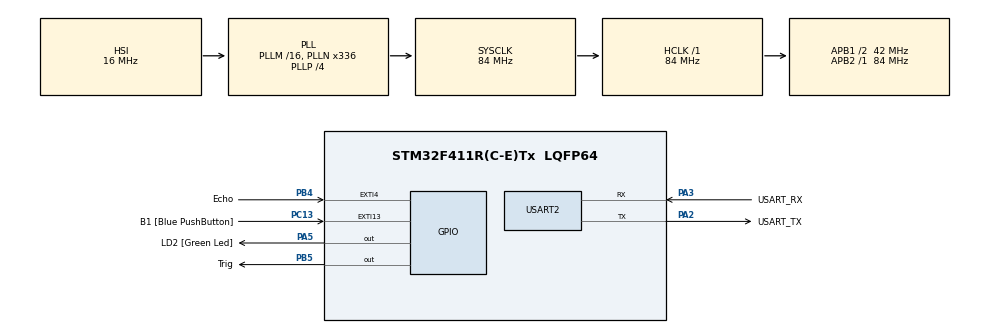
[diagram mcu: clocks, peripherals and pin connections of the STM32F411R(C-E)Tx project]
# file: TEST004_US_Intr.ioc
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Mcu.Family=STM32F4
Mcu.Name=STM32F411R(C-E)Tx
Mcu.Package=LQFP64
NVIC.EXTI4_IRQn=true\:0\:0\:false\:false\:true\:true\:true\:true
NVIC.PriorityGroup=NVIC_PRIORITYGROUP_0
NVIC.TIM3_IRQn=true\:0\:0\:false\:false\:true\:true\:true\:true
PA13.GPIO_Label=TMS
PA13.Mode=Serial_Wire
PA13.Signal=SYS_JTMS-SWDIO
PA14.GPIO_Label=TCK
PA14.Mode=Serial_Wire
PA14.Signal=SYS_JTCK-SWCLK
PA2.GPIO_Label=USART_TX
PA2.Mode=Asynchronous
PA2.Signal=USART2_TX
PA3.GPIO_Label=USART_RX
PA3.Mode=Asynchronous
PA3.Signal=USART2_RX
PA5.GPIO_Label=LD2 [Green Led]
PA5.Signal=GPIO_Output
PB3.GPIO_Label=SWO
PB3.Signal=SYS_JTDO-SWO
PB4.GPIO_Label=Echo
PB4.GPIO_ModeDefaultEXTI=GPIO_MODE_IT_RISING_FALLING
PB4.Signal=GPXTI4
PB5.GPIO_Label=Trig
PB5.Signal=GPIO_Output
PC13-ANTI_TAMP.GPIO_Label=B1 [Blue PushButton]
PC13-ANTI_TAMP.GPIO_ModeDefaultEXTI=GPIO_MODE_IT_FALLING
PC13-ANTI_TAMP.Signal=GPXTI13
PC14-OSC32_IN.Mode=LSE-External-Oscillator
PC14-OSC32_IN.Signal=RCC_OSC32_IN
PC15-OSC32_OUT.Mode=LSE-External-Oscillator
PC15-OSC32_OUT.Signal=RCC_OSC32_OUT
PH0\ -\ OSC_IN.Mode=HSE-External-Clock-Source
PH0\ -\ OSC_IN.Signal=RCC_OSC_IN
PH1\ -\ OSC_OUT.Mode=HSE-External-Clock-Source
PH1\ -\ OSC_OUT.Signal=RCC_OSC_OUT
ProjectManager.HeapSize=0x200
ProjectManager.StackSize=0x400
ProjectManager.TargetToolchain=STM32CubeIDE
RCC.48MHZClocksFreq_Value=84000000
RCC.AHBFreq_Value=84000000
RCC.APB1CLKDivider=RCC_HCLK_DIV2
RCC.APB1Freq_Value=42000000
RCC.APB1TimFreq_Value=84000000
RCC.APB2Freq_Value=84000000
RCC.APB2TimFreq_Value=84000000
RCC.CortexFreq_Value=84000000
RCC.FLatency-AdvancedSettings=FLASH_LATENCY_2
RCC.HCLKFreq_Value=84000000
RCC.HSE_VALUE=8000000
RCC.HSI_VALUE=16000000
RCC.PLLN=336
RCC.PLLP=RCC_PLLP_DIV4
RCC.SYSCLKFreq_VALUE=84000000
RCC.SYSCLKSource=RCC_SYSCLKSOURCE_PLLCLK
RCC.VCOOutputFreq_Value=336000000
TIM3.Period=10000-1
TIM3.Prescaler=560-1
TIM5.Prescaler=84-1
USART2.VirtualMode=VM_ASYNC
VP_TIM3_VS_ClockSourceINT.Mode=Internal
VP_TIM5_VS_ClockSourceINT.Mode=Internal
board=NUCLEO-F411RE

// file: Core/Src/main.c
/* USER CODE BEGIN Header */
/**
  ******************************************************************************
  * @file           : main.c
  * @brief          : Main program body
  ******************************************************************************
  * @attention
  *
  * Copyright (c) 2024 STMicroelectronics.
  * All rights reserved.
  *
  * This software is licensed under terms that can be found in the LICENSE file
  * in the root directory of this software component.
  * If no LICENSE file comes with this software, it is provided AS-IS.
  *
  ******************************************************************************
  */
/* USER CODE END Header */
#include "main.h"

TIM_HandleTypeDef htim3;
TIM_HandleTypeDef htim5;

UART_HandleTypeDef huart2;

void SystemClock_Config(void);
static void MX_GPIO_Init(void);
static void MX_USART2_UART_Init(void);
static void MX_TIM3_Init(void);
static void MX_TIM5_Init(void);

/* USER CODE BEGIN 0 */
void microDelay(int us)
{
	//int t1 = htim5.Instance->CNT; //CNT = 1us
	/*while(1)
	{
		int tmp_us = htim5.Instance->CNT - t1; // elapsed time
		if(tmp_us > us) break;
	}*/
	/*while(1)
	{
		if((htim5.Instance->CNT - t1) < us);
	}*/
	htim5.Instance -> CNT = 0;
	while(htim5.Instance -> CNT  < us);

}

void Trigger()
{
	//Trigger Signal
	HAL_GPIO_WritePin(Trig_GPIO_Port, Trig_Pin, 1);
	microDelay(10); //Can't make 10us HAL_Delay
	HAL_GPIO_WritePin(Trig_GPIO_Port, Trig_Pin, 0);
	microDelay(20);
}

int ts = 0;
double dist = 0.0;
void HAL_GPIO_EXTI_Callback(uint16_t GPIO_Pin)
{
	/*int tt = htim5.Instance->CNT; //current time save micro count

	int v = HAL_GPIO_ReadPin(Echo_GPIO_Port, Echo_Pin);
	if (v == 1) // v == 1 --> rising edge
	{
		t1 == tt;
	}
	else // --> falling edge
	{
		t2 == tt;
		double dist = (t2 - t1) * (0.000170); //meter
	}*/

	if(GPIO_Pin == Echo_Pin)
	{
		int tt = htim5.Instance->CNT; //current time save micro count

		if(HAL_GPIO_ReadPin(Echo_GPIO_Port, Echo_Pin) == 1) //rising edge scan
		{
			ts = tt;
		}

		else //falling edge scan
		{
			dist = (tt - ts) * (0.000170)*100;
		}
	}

}
void HAL_TIM_PeriodElapsedCallback(TIM_HandleTypeDef *htim)
{
	if(htim == &htim3)	// htim3 ISR
	{
		Trigger();
	}
}
/* USER CODE END 0 */

int main(void)
{

  /* MCU Configuration--------------------------------------------------------*/

  /* Reset of all peripherals, Initializes the Flash interface and the Systick. */
  HAL_Init();

  /* Configure the system clock */
  SystemClock_Config();

  /* Initialize all configured peripherals */
  MX_GPIO_Init();
  MX_USART2_UART_Init();
  MX_TIM3_Init();
  MX_TIM5_Init();
  /* USER CODE BEGIN 2 */
  ProgramStart("UltraSonic");
  HAL_TIM_Base_Start(&htim5); //Timer Start -> (address handle timer5)
  HAL_TIM_Base_Start_IT(&htim3);
  /* USER CODE END 2 */

  /* Infinite loop */
  /* USER CODE BEGIN WHILE */
  while (1)
  {

	  //Trigger Signal
	  /*HAL_GPIO_WritePin(Trig_GPIO_Port, Trig_Pin, 1);
	  microDelay(10); //Can't make 10us HAL_Delay
	  HAL_GPIO_WritePin(Trig_GPIO_Port, Trig_Pin, 0);
	  microDelay(20);*/
    /* USER CODE END WHILE */

    /* USER CODE BEGIN 3 */
	  //Wait until Echo Rising Edge
	  double d = dist; //Distance();
	  printf("\033[?25l"); //cursor off
	  //printf("\033[?25h"); //cursor on
	  printf("\033[10;30H\033#4 Distance : %.2f cm   \r\n", d);
	  HAL_Delay(100);
  }
  /* USER CODE END 3 */
}

void SystemClock_Config(void)
{
  RCC_OscInitTypeDef RCC_OscInitStruct = {0};
  RCC_ClkInitTypeDef RCC_ClkInitStruct = {0};

  /** Configure the main internal regulator output voltage
  */
  __HAL_RCC_PWR_CLK_ENABLE();
  __HAL_PWR_VOLTAGESCALING_CONFIG(PWR_REGULATOR_VOLTAGE_SCALE1);

  /** Initializes the RCC Oscillators according to the specified parameters
  * in the RCC_OscInitTypeDef structure.
  */
  RCC_OscInitStruct.OscillatorType = RCC_OSCILLATORTYPE_HSI;
  RCC_OscInitStruct.HSIState = RCC_HSI_ON;
  RCC_OscInitStruct.HSICalibrationValue = RCC_HSICALIBRATION_DEFAULT;
  RCC_OscInitStruct.PLL.PLLState = RCC_PLL_ON;
  RCC_OscInitStruct.PLL.PLLSource = RCC_PLLSOURCE_HSI;
  RCC_OscInitStruct.PLL.PLLM = 16;
  RCC_OscInitStruct.PLL.PLLN = 336;
  RCC_OscInitStruct.PLL.PLLP = RCC_PLLP_DIV4;
  RCC_OscInitStruct.PLL.PLLQ = 4;
  if (HAL_RCC_OscConfig(&RCC_OscInitStruct) != HAL_OK)
  {
    Error_Handler();
  }

  /** Initializes the CPU, AHB and APB buses clocks
  */
  RCC_ClkInitStruct.ClockType = RCC_CLOCKTYPE_HCLK|RCC_CLOCKTYPE_SYSCLK
                              |RCC_CLOCKTYPE_PCLK1|RCC_CLOCKTYPE_PCLK2;
  RCC_ClkInitStruct.SYSCLKSource = RCC_SYSCLKSOURCE_PLLCLK;
  RCC_ClkInitStruct.AHBCLKDivider = RCC_SYSCLK_DIV1;
  RCC_ClkInitStruct.APB1CLKDivider = RCC_HCLK_DIV2;
  RCC_ClkInitStruct.APB2CLKDivider = RCC_HCLK_DIV1;

  if (HAL_RCC_ClockConfig(&RCC_ClkInitStruct, FLASH_LATENCY_2) != HAL_OK)
  {
    Error_Handler();
  }
}

static void MX_TIM3_Init(void)
{

  TIM_ClockConfigTypeDef sClockSourceConfig = {0};
  TIM_MasterConfigTypeDef sMasterConfig = {0};

  htim3.Instance = TIM3;
  htim3.Init.Prescaler = 560-1;
  htim3.Init.CounterMode = TIM_COUNTERMODE_UP;
  htim3.Init.Period = 10000-1;
  htim3.Init.ClockDivision = TIM_CLOCKDIVISION_DIV1;
  htim3.Init.AutoReloadPreload = TIM_AUTORELOAD_PRELOAD_DISABLE;
  if (HAL_TIM_Base_Init(&htim3) != HAL_OK)
  {
    Error_Handler();
  }
  sClockSourceConfig.ClockSource = TIM_CLOCKSOURCE_INTERNAL;
  if (HAL_TIM_ConfigClockSource(&htim3, &sClockSourceConfig) != HAL_OK)
  {
    Error_Handler();
  }
  sMasterConfig.MasterOutputTrigger = TIM_TRGO_RESET;
  sMasterConfig.MasterSlaveMode = TIM_MASTERSLAVEMODE_DISABLE;
  if (HAL_TIMEx_MasterConfigSynchronization(&htim3, &sMasterConfig) != HAL_OK)
  {
    Error_Handler();
  }

}

static void MX_TIM5_Init(void)
{

  TIM_ClockConfigTypeDef sClockSourceConfig = {0};
  TIM_MasterConfigTypeDef sMasterConfig = {0};

  htim5.Instance = TIM5;
  htim5.Init.Prescaler = 84-1;
  htim5.Init.CounterMode = TIM_COUNTERMODE_UP;
  htim5.Init.Period = 4294967295;
  htim5.Init.ClockDivision = TIM_CLOCKDIVISION_DIV1;
  htim5.Init.AutoReloadPreload = TIM_AUTORELOAD_PRELOAD_DISABLE;
  if (HAL_TIM_Base_Init(&htim5) != HAL_OK)
  {
    Error_Handler();
  }
  sClockSourceConfig.ClockSource = TIM_CLOCKSOURCE_INTERNAL;
  if (HAL_TIM_ConfigClockSource(&htim5, &sClockSourceConfig) != HAL_OK)
  {
    Error_Handler();
  }
  sMasterConfig.MasterOutputTrigger = TIM_TRGO_RESET;
  sMasterConfig.MasterSlaveMode = TIM_MASTERSLAVEMODE_DISABLE;
  if (HAL_TIMEx_MasterConfigSynchronization(&htim5, &sMasterConfig) != HAL_OK)
  {
    Error_Handler();
  }

}

static void MX_USART2_UART_Init(void)
{

  huart2.Instance = USART2;
  huart2.Init.BaudRate = 115200;
  huart2.Init.WordLength = UART_WORDLENGTH_8B;
  huart2.Init.StopBits = UART_STOPBITS_1;
  huart2.Init.Parity = UART_PARITY_NONE;
  huart2.Init.Mode = UART_MODE_TX_RX;
  huart2.Init.HwFlowCtl = UART_HWCONTROL_NONE;
  huart2.Init.OverSampling = UART_OVERSAMPLING_16;
  if (HAL_UART_Init(&huart2) != HAL_OK)
  {
    Error_Handler();
  }

}

static void MX_GPIO_Init(void)
{
  GPIO_InitTypeDef GPIO_InitStruct = {0};

  /* GPIO Ports Clock Enable */
  __HAL_RCC_GPIOC_CLK_ENABLE();
  __HAL_RCC_GPIOH_CLK_ENABLE();
  __HAL_RCC_GPIOA_CLK_ENABLE();
  __HAL_RCC_GPIOB_CLK_ENABLE();

  /*Configure GPIO pin Output Level */
  HAL_GPIO_WritePin(LD2_GPIO_Port, LD2_Pin, GPIO_PIN_RESET);

  /*Configure GPIO pin Output Level */
  HAL_GPIO_WritePin(Trig_GPIO_Port, Trig_Pin, GPIO_PIN_RESET);

  /*Configure GPIO pin : B1_Pin */
  GPIO_InitStruct.Pin = B1_Pin;
  GPIO_InitStruct.Mode = GPIO_MODE_IT_FALLING;
  GPIO_InitStruct.Pull = GPIO_NOPULL;
  HAL_GPIO_Init(B1_GPIO_Port, &GPIO_InitStruct);

  /*Configure GPIO pin : LD2_Pin */
  GPIO_InitStruct.Pin = LD2_Pin;
  GPIO_InitStruct.Mode = GPIO_MODE_OUTPUT_PP;
  GPIO_InitStruct.Pull = GPIO_NOPULL;
  GPIO_InitStruct.Speed = GPIO_SPEED_FREQ_LOW;
  HAL_GPIO_Init(LD2_GPIO_Port, &GPIO_InitStruct);

  /*Configure GPIO pin : Echo_Pin */
  GPIO_InitStruct.Pin = Echo_Pin;
  GPIO_InitStruct.Mode = GPIO_MODE_IT_RISING_FALLING;
  GPIO_InitStruct.Pull = GPIO_NOPULL;
  HAL_GPIO_Init(Echo_GPIO_Port, &GPIO_InitStruct);

  /*Configure GPIO pin : Trig_Pin */
  GPIO_InitStruct.Pin = Trig_Pin;
  GPIO_InitStruct.Mode = GPIO_MODE_OUTPUT_PP;
  GPIO_InitStruct.Pull = GPIO_NOPULL;
  GPIO_InitStruct.Speed = GPIO_SPEED_FREQ_LOW;
  HAL_GPIO_Init(Trig_GPIO_Port, &GPIO_InitStruct);

  /* EXTI interrupt init*/
  HAL_NVIC_SetPriority(EXTI4_IRQn, 0, 0);
  HAL_NVIC_EnableIRQ(EXTI4_IRQn);

}

void Error_Handler(void)
{
  __disable_irq();
  while (1)
  {
  }
}
